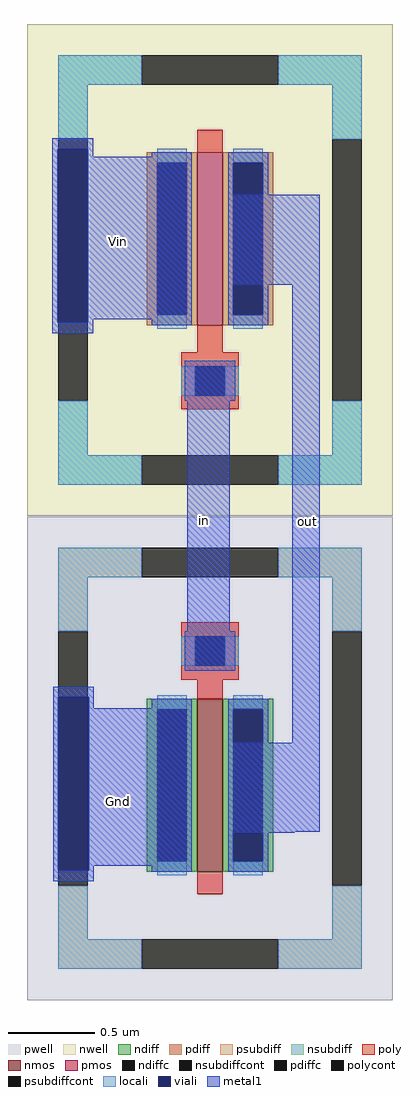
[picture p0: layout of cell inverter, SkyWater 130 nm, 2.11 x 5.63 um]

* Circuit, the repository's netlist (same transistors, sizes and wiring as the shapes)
** sch_path: /root/latihan/inverter/inverter.sch
.subckt inverter Vin in out Gnd
*.PININFO in:I Vin:I Gnd:I out:O
XM1 out in Gnd Gnd sky130_fd_pr__nfet_01v8 L=0.15 W=1 nf=1 m=1
XM2 out in Vin Vin sky130_fd_pr__pfet_01v8 L=0.15 W=1 nf=1 m=1
.ends
.end

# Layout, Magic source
magic
tech sky130A
magscale 1 2
<< viali >>
rect -18 729 17 930
rect -17 96 18 297
<< metal1 >>
rect -24 930 23 942
rect -24 729 -18 930
rect 17 921 23 930
rect 17 733 135 921
rect 185 773 285 877
rect 17 729 23 733
rect -24 717 23 729
rect 132 330 181 682
rect -23 297 24 309
rect -23 96 -17 297
rect 18 284 24 297
rect 18 102 133 284
rect 253 244 285 773
rect 184 141 285 244
rect 184 140 256 141
rect 18 96 24 102
rect -23 84 24 96
use sky130_fd_pr__nfet_01v8_64Z3AY  XM1
transform 1 0 158 0 1 226
box -211 -279 211 279
use sky130_fd_pr__pfet_01v8_LGS3BL  XM2
transform 1 0 158 0 1 790
box -211 -284 211 284
<< labels >>
flabel metal1 52 823 52 823 0 FreeSans 160 0 0 0 Vin
port 2 nsew
flabel metal1 152 501 152 501 0 FreeSans 160 0 0 0 in
port 3 nsew
flabel metal1 271 499 271 499 0 FreeSans 160 0 0 0 out
port 4 nsew
flabel metal1 52 176 52 176 0 FreeSans 160 0 0 0 Gnd
port 5 nsew
<< end >>

# cell sky130_fd_pr__nfet_01v8_64Z3AY: kit device sky130_fd_pr__nfet_01v8, w 1.0 l 0.15 m 1 nf 1 diffcov 100 polycov 100 guard 1 glc 1 grc 1 gtc 1 gbc 1 tbcov 100 rlcov 100 topc 1 botc 0 poverlap 0 doverlap 1 lmin 0.15 wmin 0.42 compatible {sky130_fd_pr__nfet_01v8 sky130_fd_pr__nfet_01v8_lvt sky130_fd_bs_flash__special_sonosfet_star sky130_fd_pr__nfet_g5v0d10v5 sky130_fd_pr__nfet_05v0_nvt sky130_fd_pr__nfet_03v3_nvt} full_metal 1 viasrc 100 viadrn 100 viagate 100 viagb 0 viagr 0 viagl 0 viagt 0

# cell sky130_fd_pr__pfet_01v8_LGS3BL: kit device sky130_fd_pr__pfet_01v8, w 1.0 l 0.15 m 1 nf 1 diffcov 100 polycov 100 guard 1 glc 1 grc 1 gtc 1 gbc 1 tbcov 100 rlcov 100 topc 0 botc 1 poverlap 0 doverlap 1 lmin 0.15 wmin 0.42 compatible {sky130_fd_pr__pfet_01v8 sky130_fd_pr__pfet_01v8_lvt sky130_fd_pr__pfet_01v8_hvt sky130_fd_pr__pfet_g5v0d10v5} full_metal 1 viasrc 100 viadrn 100 viagate 100 viagb 0 viagr 0 viagl 0 viagt 0
